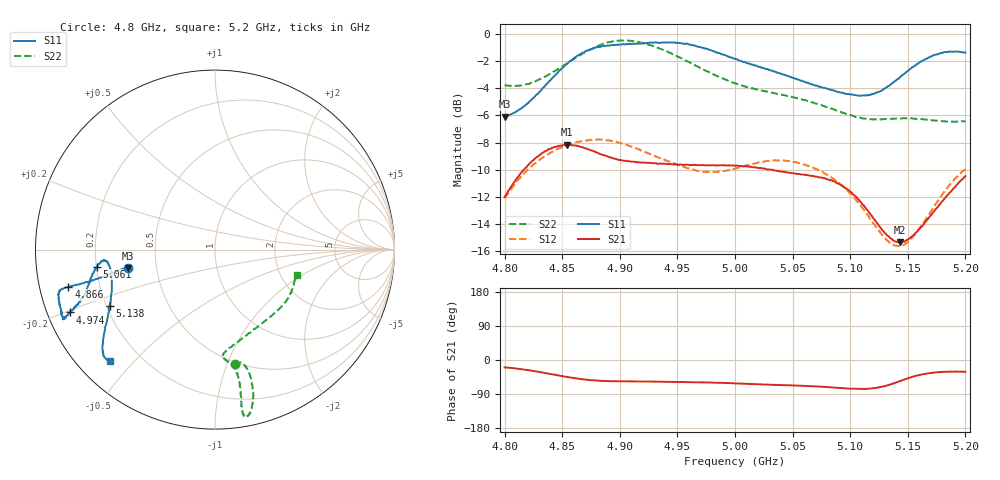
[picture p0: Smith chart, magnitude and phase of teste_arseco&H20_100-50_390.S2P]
! Network Analyzer HP8722D
! Hewlett-Packard
! Data name: Linha & Wilkinson
! Saver's name: Rodrigo Anjos
! Comments: Teste da utilização de aquisição
! continua pelo VNA HP8722D
! Time and date: 6/5/2025 15:49
!  Frequency  S11  S21  S12  S22
# HZ  S  MA R 50
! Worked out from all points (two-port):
!   401 points, 4.8 GHz to 5.2 GHz, reference 50 ohm
!   highest |S21| = -8.15 dB at 4.854 GHz (marker M1); lowest = -15.3 dB at 5.143 GHz (marker M2)
!   |S21| within 3 dB of the highest: 4.806 GHz to 5.093 GHz (286.5 MHz wide, 5.79 % of centre); 5.192071 GHz to end of sweep
!   lowest |S11| = -6.1 dB at 4.8 GHz (marker M3), VSWR 2.97, Z = 17 - j4.62 ohm
!   |S11| at or under -10 dB: nowhere
!   |S22| runs from -6.5 to -0.5 dB; largest |S21 - S12| = 0.62
!   S11 on the Smith chart (normalised r, x): 4.8 GHz: 0.34, -0.09; 4.866 GHz: 0.09, -0.12; 4.974 GHz: 0.07, -0.21; 5.061 GHz: 0.20, -0.07; 5.138 GHz: 0.21, -0.24; 5.2 GHz: 0.09, -0.43
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4.8e9  0.4962 -168.1  0.2512 -19.5  0.2481 -140.7  0.6477 -80.3
4.828e9  0.5994 -167.0  0.3526 -30.4  0.3381 -144.5  0.6739 -75.4
4.854e9  0.7758 -165.7  0.3911 -44.7  0.3894 -149.6  0.7768 -74.6
4.866e9  0.8423 -165.8  0.3839 -50.1  0.4024 -151.6  0.8367 -75.2
4.867e9  0.8488 -165.7  0.3832 -50.6  0.4029 -151.9  0.8422 -75.3
4.879e9  0.8907 -165.4  0.3668 -54.1  0.4084 -153.9  0.8947 -76.6
4.899e9  0.9109 -162.7  0.344 -56.3  0.398 -156.6  0.9439 -79.0
4.934e9  0.9271 -156.3  0.333 -57.4  0.3506 -155.6  0.8837 -80.5
4.953e9  0.9233 -155.3  0.3309 -58.0  0.3262 -151.9  0.8156 -79.9
4.974e9  0.8819 -156.6  0.3286 -59.1  0.3112 -145.4  0.7343 -79.7
5e9  0.8089 -158.8  0.3275 -61.7  0.3197 -137.1  0.6574 -81.2
5.039e9  0.7164 -166.4  0.312 -66.0  0.3424 -134.3  0.5989 -85.8
5.061e9  0.6642 -171.8  0.303 -68.2  0.3299 -136.1  0.571 -83.9
5.067e9  0.6511 -173.0  0.3007 -69.0  0.3233 -136.5  0.56 -82.7
5.086e9  0.618 -174.4  0.2865 -72.8  0.2917 -138.2  0.5263 -75.4
5.103e9  0.5965 -171.6  0.2559 -76.0  0.2507 -138.6  0.4983 -65.3
5.134e9  0.6446 -154.1  0.1791 -65.5  0.171 -120.8  0.4869 -43.3
5.138e9  0.6654 -151.7  0.1735 -61.3  0.167 -115.8  0.4871 -40.7
5.143e9  0.6914 -149.2  0.1711 -56.0  0.1658 -109.1  0.4884 -38.0
5.154e9  0.7543 -144.3  0.1808 -44.5  0.1786 -95.1  0.4882 -32.3
5.173e9  0.8362 -138.7  0.2231 -33.2  0.2327 -80.7  0.4805 -24.3
5.2e9  0.8521 -133.5  0.2997 -31.2  0.3185 -76.7  0.4764 -17.5
